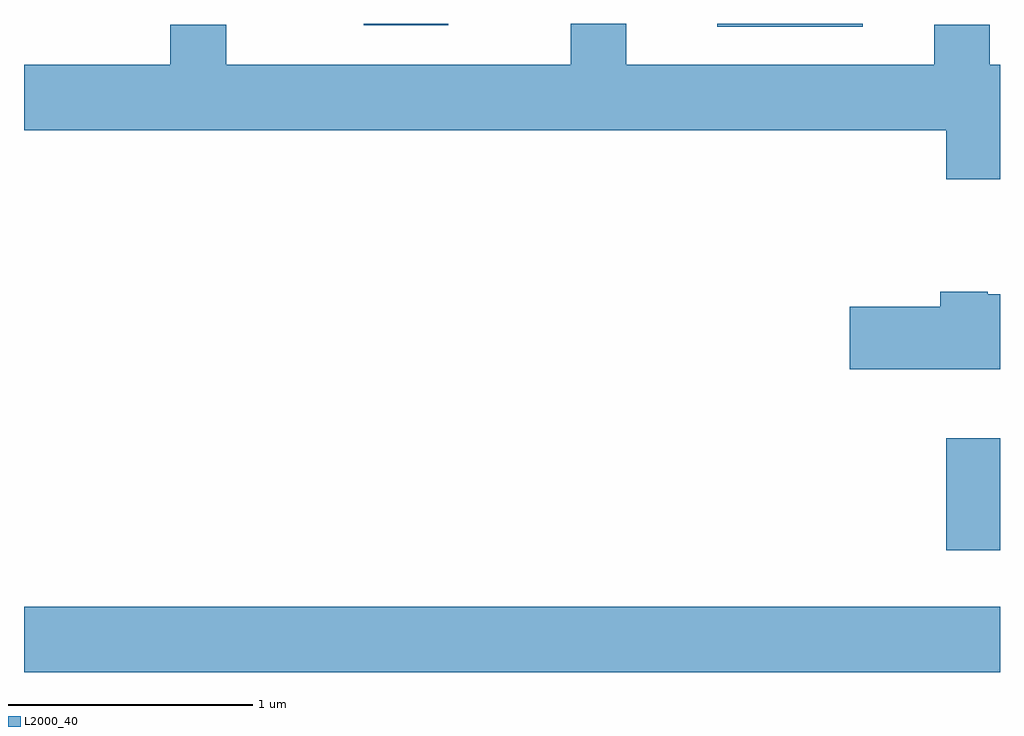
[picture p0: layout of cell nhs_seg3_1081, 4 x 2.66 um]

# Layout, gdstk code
import gdstk
lib = gdstk.Library(unit=1e-6, precision=1e-09)
def R(c, l, rs):  # rectangles x0, y0, x1, y1
    for r in rs: c.add(gdstk.rectangle(r[:2], r[2:], *l))
def P(c, l, *ps):  # polygons
    for p in ps: c.add(gdstk.Polygon(p, *l))
L2000_40 = (2000, 40)

nhs_seg3_1081 = lib.new_cell('nhs_seg3_1081')
R(nhs_seg3_1081, L2000_40, [(215.611,1239.236,219.611,1239.504), (219.391,1239.736,219.611,1240.194), (218.453,1241.881,219.049,1241.892), (217.003,1241.886,217.349,1241.892)])
P(nhs_seg3_1081, L2000_40, [(219.611,1241.724),(219.569,1241.724),(219.569,1241.889),(219.341,1241.889),(219.341,1241.724),(218.079,1241.724),(218.079,1241.892),(217.851,1241.892),(217.851,1241.724),(216.439,1241.724),(216.439,1241.889),(216.211,1241.889),(216.211,1241.724),(215.611,1241.724),(215.611,1241.456),(219.391,1241.456),(219.391,1241.256),(219.611,1241.256)],
  [(219.611,1240.784),(219.56,1240.784),(219.56,1240.794),(219.366,1240.794),(219.366,1240.734),(218.996,1240.734),(218.996,1240.476),(219.611,1240.476)])

lib.write_gds('nhs_seg3_1081.gds')
